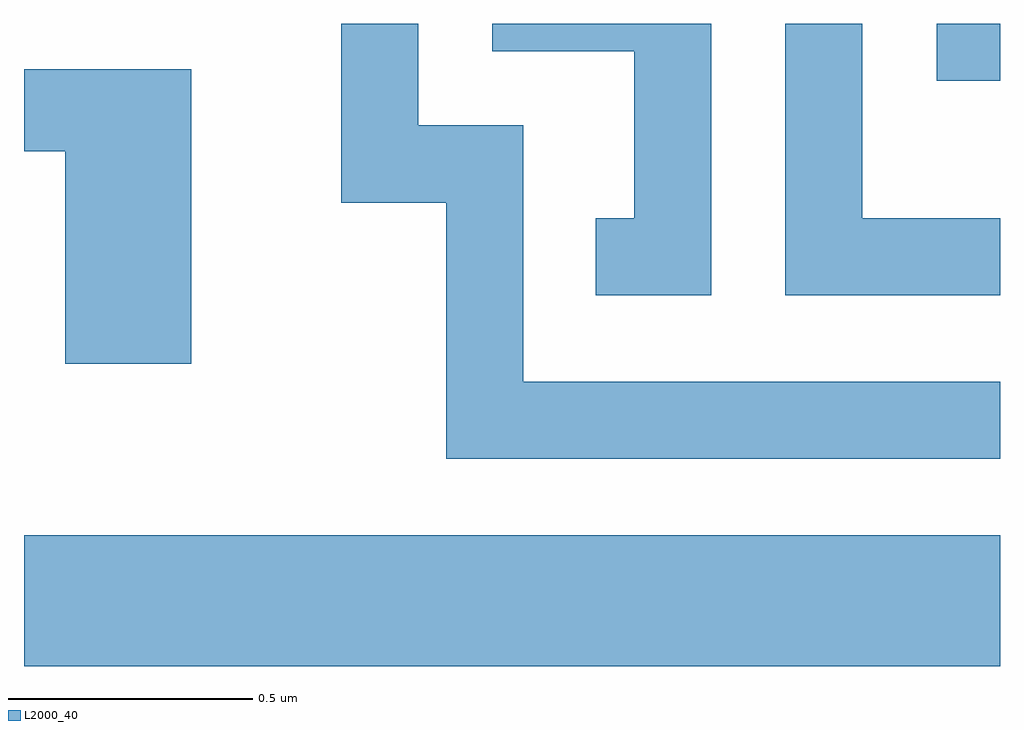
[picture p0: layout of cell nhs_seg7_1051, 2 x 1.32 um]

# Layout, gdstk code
import gdstk
lib = gdstk.Library(unit=1e-6, precision=1e-09)
def R(c, l, rs):  # rectangles x0, y0, x1, y1
    for r in rs: c.add(gdstk.rectangle(r[:2], r[2:], *l))
def P(c, l, *ps):  # polygons
    for p in ps: c.add(gdstk.Polygon(p, *l))
L2000_40 = (2000, 40)

nhs_seg7_1051 = lib.new_cell('nhs_seg7_1051')
R(nhs_seg7_1051, L2000_40, [(192.611,1760.936,194.611,1761.204), (194.481,1762.136,194.611,1762.252)])
P(nhs_seg7_1051, L2000_40, [(194.019,1762.252),(193.571,1762.252),(193.571,1762.196),(193.861,1762.196),(193.861,1761.854),(193.783,1761.854),(193.783,1761.696),(194.019,1761.696)],
  [(194.611,1761.519),(193.634,1761.519),(193.634,1762.044),(193.419,1762.044),(193.419,1762.252),(193.261,1762.252),(193.261,1761.886),(193.476,1761.886),(193.476,1761.361),(194.611,1761.361)],
  [(194.611,1761.854),(194.329,1761.854),(194.329,1762.252),(194.171,1762.252),(194.171,1761.696),(194.611,1761.696)],
  [(192.954,1762.159),(192.611,1762.159),(192.611,1761.991),(192.696,1761.991),(192.696,1761.556),(192.954,1761.556)])

lib.write_gds('nhs_seg7_1051.gds')
